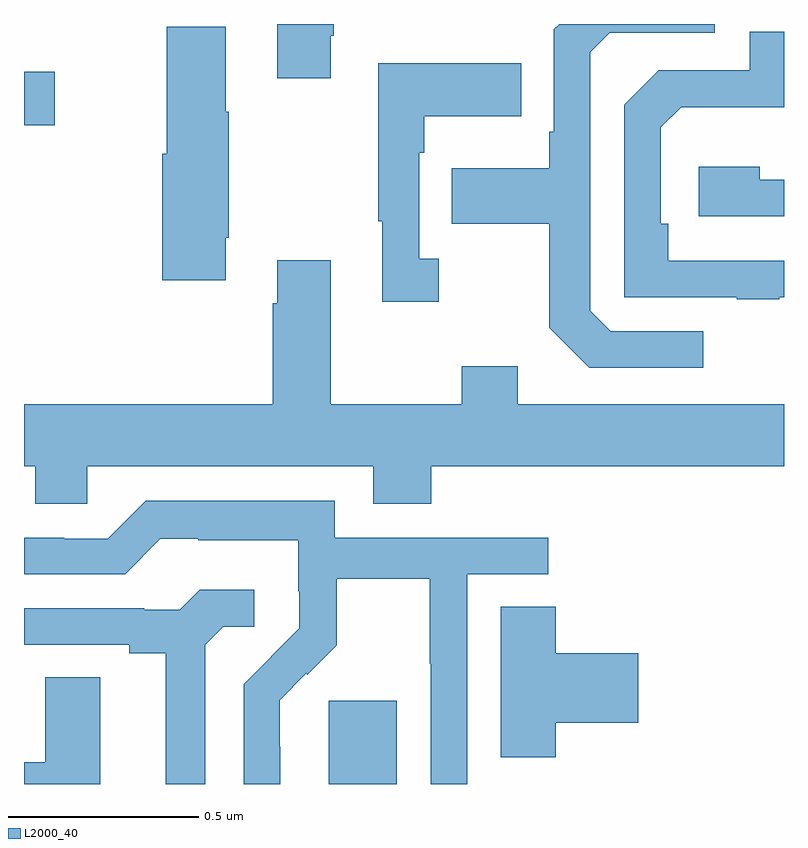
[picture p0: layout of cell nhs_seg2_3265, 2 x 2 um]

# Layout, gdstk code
import gdstk
lib = gdstk.Library(unit=1e-6, precision=1e-09)
def R(c, l, rs):  # rectangles x0, y0, x1, y1
    for r in rs: c.add(gdstk.rectangle(r[:2], r[2:], *l))
def P(c, l, *ps):  # polygons
    for p in ps: c.add(gdstk.Polygon(p, *l))
L2000_40 = (2000, 40)

nhs_seg2_3265 = lib.new_cell('nhs_seg2_3265')
R(nhs_seg2_3265, L2000_40, [(151.802,646.8,151.981,647.019), (151,648.533,151.081,648.675)])
P(nhs_seg2_3265, L2000_40, [(152.788,647.991),(152.544,647.991),(152.49,648.045),(152.49,648.726),(152.541,648.777),(152.818,648.777),(152.818,648.8),(152.408,648.8),(152.394,648.786),(152.394,648.517),(152.382,648.517),(152.382,648.421),(152.125,648.421),(152.125,648.274),(152.382,648.274),(152.382,648.001),(152.487,647.895),(152.788,647.895)],
  [(151.807,648.769),(151.815,648.769),(151.815,648.8),(151.667,648.8),(151.667,648.657),(151.807,648.657)],
  [(151.531,648.238),(151.539,648.238),(151.539,648.569),(151.531,648.569),(151.531,648.793),(151.376,648.793),(151.376,648.459),(151.364,648.459),(151.364,648.126),(151.531,648.126)],
  [(152.987,648.081),(153,648.081),(153,648.177),(152.696,648.177),(152.696,648.274),(152.676,648.274),(152.676,648.528),(152.729,648.581),(153,648.581),(153,648.78),(152.91,648.78),(152.91,648.678),(152.67,648.678),(152.58,648.588),(152.58,648.081),(152.875,648.081),(152.875,648.076),(152.987,648.076)],
  [(152.092,648.182),(152.04,648.182),(152.04,648.461),(152.053,648.461),(152.053,648.557),(152.309,648.557),(152.309,648.697),(151.932,648.697),(151.932,648.281),(151.943,648.281),(151.943,648.069),(152.092,648.069)],
  [(153,648.39),(152.936,648.39),(152.936,648.424),(152.775,648.424),(152.775,648.294),(153,648.294)],
  [(152.072,647.636),(153,647.636),(153,647.8),(152.299,647.8),(152.299,647.899),(152.152,647.899),(152.152,647.8),(151.807,647.8),(151.807,648.178),(151.667,648.178),(151.667,648.065),(151.655,648.065),(151.655,647.8),(151,647.8),(151,647.636),(151.029,647.636),(151.029,647.538),(151.167,647.538),(151.167,647.636),(151.919,647.636),(151.919,647.537),(152.072,647.537)],
  [(151.674,646.898),(151.673,646.898),(151.673,647.021),(151.743,647.091),(151.746,647.088),(151.823,647.165),(151.823,647.34),(152.068,647.34),(152.068,647.116),(152.07,647.116),(152.07,646.8),(152.166,646.8),(152.166,647.352),(152.38,647.352),(152.38,647.448),(151.818,647.448),(151.818,647.545),(151.321,647.545),(151.221,647.445),(151.106,647.445),(151.106,647.448),(151,647.448),(151,647.352),(151.266,647.352),(151.359,647.445),(151.459,647.445),(151.459,647.441),(151.722,647.441),(151.722,647.307),(151.724,647.307),(151.724,647.21),(151.65,647.136),(151.651,647.135),(151.578,647.062),(151.578,646.8),(151.674,646.8)],
  [(151.477,647.167),(151.524,647.214),(151.606,647.214),(151.606,647.311),(151.462,647.311),(151.41,647.259),(151.316,647.259),(151.316,647.262),(151,647.262),(151,647.166),(151.277,647.166),(151.277,647.144),(151.373,647.144),(151.373,646.8),(151.477,646.8)],
  [(152.399,646.961),(152.617,646.961),(152.617,647.144),(152.399,647.144),(152.399,647.267),(152.255,647.267),(152.255,646.87),(152.399,646.87)],
  [(151.201,647.081),(151.056,647.081),(151.056,646.857),(151,646.857),(151,646.8),(151.201,646.8)])

lib.write_gds('nhs_seg2_3265.gds')
